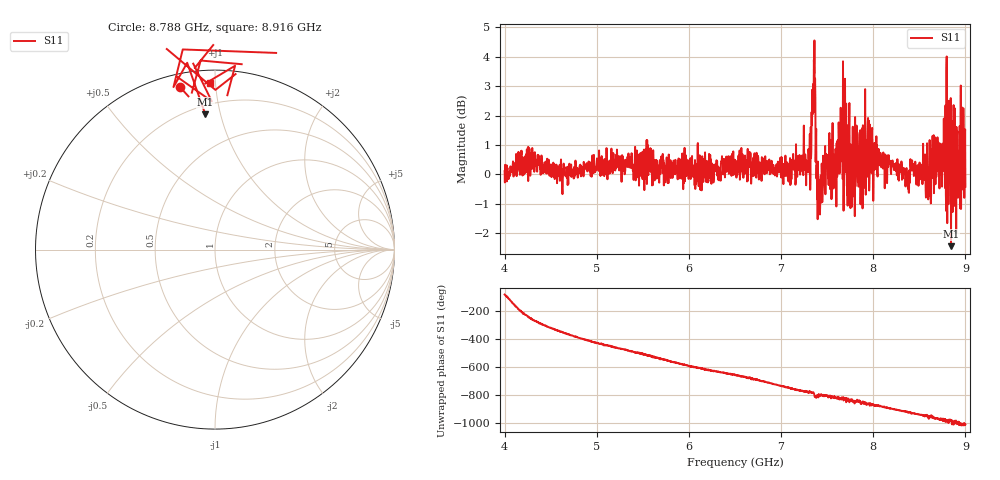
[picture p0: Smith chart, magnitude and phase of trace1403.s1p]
! Created with skrf 1.8.0 (http://scikit-rf.org).
# Hz S RI R 50.0
!freq ReS11 ImS11
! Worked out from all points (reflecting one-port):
!   1601 points, 4 GHz to 9 GHz, reference 50 ohm
!   lowest |S11| = -2.4 dB at 8.844 GHz (marker M1), VSWR 7.16, Z = 12.8 + j44.9 ohm
!   phase of S11 starts at -82 deg and turns -926 deg over the sweep
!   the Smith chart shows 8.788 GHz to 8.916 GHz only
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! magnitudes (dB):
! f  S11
! 4 GHz  0.1
! 4.266 GHz  0.1
! 4.625 GHz  -0.5
! 5.25 GHz  0.5
! 5.875 GHz  0.0
! 6.5 GHz  0.0
! 7.125 GHz  0.2
! 7.294 GHz  0.1
! 7.356 GHz  3.9
! 7.412 GHz  -1.0
! 7.503 GHz  0.5
! 7.588 GHz  -0.1
! 7.65 GHz  0.5
! 7.719 GHz  1.1
! 7.75 GHz  0.1
! 7.775 GHz  0.7
! 7.8 GHz  -1.4
! 7.928 GHz  0.2
! 8.375 GHz  -0.4
! 8.428 GHz  0.3
! 8.581 GHz  -0.4
! 8.656 GHz  1.3
! 8.766 GHz  1.9
! 8.816 GHz  -1.0
! 8.844 GHz  -2.4
! 8.919 GHz  -0.8
! 8.972 GHz  0.9
! 9 GHz  -0.4
